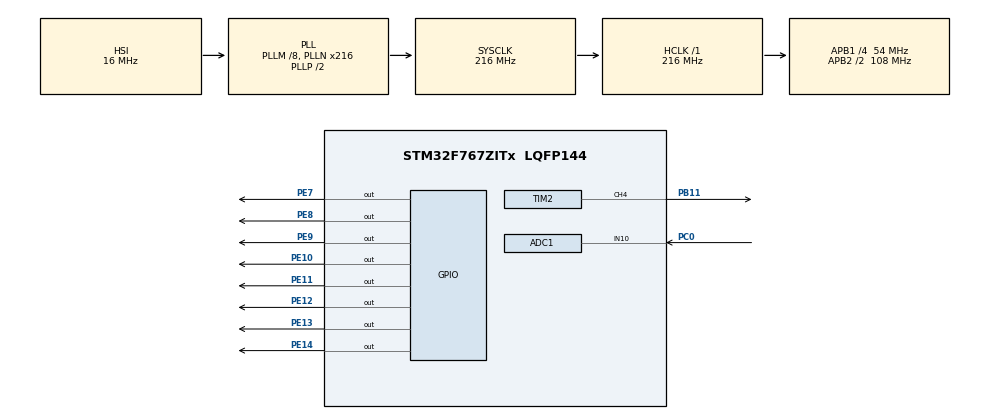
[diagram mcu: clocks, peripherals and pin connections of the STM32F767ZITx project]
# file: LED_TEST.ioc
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ADC1.Channel-0\#ChannelRegularConversion=ADC_CHANNEL_10
ADC1.ClockPrescaler=ADC_CLOCK_SYNC_PCLK_DIV4
ADC1.ContinuousConvMode=ENABLE
ADC1.EOCSelection=ADC_EOC_SEQ_CONV
ADC1.NbrOfConversionFlag=1
ADC1.Rank-0\#ChannelRegularConversion=1
ADC1.SamplingTime-0\#ChannelRegularConversion=ADC_SAMPLETIME_3CYCLES
ADC1.master=1
Mcu.Family=STM32F7
Mcu.Name=STM32F767ZITx
Mcu.Package=LQFP144
NVIC.PriorityGroup=NVIC_PRIORITYGROUP_4
PB11.GPIO_Speed=GPIO_SPEED_FREQ_VERY_HIGH
PB11.Signal=S_TIM2_CH4
PC0.Signal=ADCx_IN10
PE10.Signal=GPIO_Output
PE11.Signal=GPIO_Output
PE12.Signal=GPIO_Output
PE13.Signal=GPIO_Output
PE14.Signal=GPIO_Output
PE7.Signal=GPIO_Output
PE8.Signal=GPIO_Output
PE9.Signal=GPIO_Output
ProjectManager.HeapSize=0x200
ProjectManager.StackSize=0x400
ProjectManager.TargetToolchain=STM32CubeIDE
RCC.AHBFreq_Value=216000000
RCC.APB1CLKDivider=RCC_HCLK_DIV4
RCC.APB1Freq_Value=54000000
RCC.APB1TimFreq_Value=108000000
RCC.APB2CLKDivider=RCC_HCLK_DIV2
RCC.APB2Freq_Value=108000000
RCC.APB2TimFreq_Value=216000000
RCC.CortexFreq_Value=216000000
RCC.HCLKFreq_Value=216000000
RCC.HSE_VALUE=25000000
RCC.HSI_VALUE=16000000
RCC.LSE_VALUE=32768
RCC.PLLM=8
RCC.PLLN=216
RCC.SYSCLKFreq_VALUE=216000000
RCC.SYSCLKSource=RCC_SYSCLKSOURCE_PLLCLK
RCC.USBFreq_Value=216000000
RCC.VCOOutputFreq_Value=432000000
SH.ADCx_IN10.0=ADC1_IN10,IN10
SH.S_TIM2_CH4.0=TIM2_CH4,PWM Generation4 CH4
TIM2.Channel-PWM\ Generation4\ CH4=TIM_CHANNEL_4
TIM2.OC4Preload_PWM=DISABLE
TIM2.Period=1000-1
TIM2.Prescaler=108-1
TIM2.Pulse-PWM\ Generation4\ CH4=1000/4-1
board=custom

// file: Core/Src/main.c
/* USER CODE BEGIN Header */
/**
  ******************************************************************************
  * @file           : main.c
  * @brief          : Main program body
  ******************************************************************************
  * @attention
  *
  * Copyright (c) 2023 STMicroelectronics.
  * All rights reserved.
  *
  * This software is licensed under terms that can be found in the LICENSE file
  * in the root directory of this software component.
  * If no LICENSE file comes with this software, it is provided AS-IS.
  *
  ******************************************************************************
  */
/* USER CODE END Header */
#include "main.h"
#include "adc.h"
#include "tim.h"
#include "gpio.h"

/* USER CODE BEGIN PV */
float dutyCycle = 0.1;
uint32_t pwm = 0;
uint32_t adc_val = 0;
/* USER CODE END PV */

void SystemClock_Config(void);

int main(void)
{

  /* MCU Configuration--------------------------------------------------------*/

  /* Reset of all peripherals, Initializes the Flash interface and the Systick. */
  HAL_Init();

  /* Configure the system clock */
  SystemClock_Config();

  /* Initialize all configured peripherals */
  MX_GPIO_Init();
  MX_TIM2_Init();
  MX_ADC1_Init();
  /* USER CODE BEGIN 2 */
  HAL_TIM_Base_Start(&htim2);
  HAL_ADC_Start(&hadc1);
  /* USER CODE END 2 */

  /* Infinite loop */
  while (1)
  {

    /* USER CODE BEGIN 3 */
	  //0000 0000 0000 0000 0x00 0000 x000 0000
	  //0x00 0000 0x00 0000 0000 0000 0000 0000
	  GPIOE->BSRR = 0x00004080;
	  HAL_Delay(500);
	  GPIOE->BSRR = 0x00004080 << 16;
	  HAL_Delay(500);
	  GPIOE->BSRR = 0x00002100;
	  HAL_Delay(500);
	  GPIOE->BSRR = 0x00002100 << 16;
	  HAL_Delay(500);
	  GPIOE->BSRR = 0x00001200;
	  HAL_Delay(500);
	  GPIOE->BSRR = 0x00001200 << 16;
	  HAL_Delay(500);
	  GPIOE->BSRR = 0x00000C00;
	  HAL_Delay(500);
	  GPIOE->BSRR = 0x00000C00 << 16;
	  HAL_Delay(500);
//	  HAL_ADC_PollForConversion(&hadc1, 100);
//	  adc_val = HAL_ADC_GetValue(&hadc1);
//
//	  dutyCycle = (float)adc_val / 4095.0;
//	  htim2.Instance->CCR4 = (100-1) * dutyCycle;
//	  HAL_TIM_PWM_Start(&htim2, TIM_CHANNEL_4);
//	  pwm = HAL_GPIO_ReadPin(GPIOB, GPIO_PIN_11);
  }
  /* USER CODE END 3 */
}

void SystemClock_Config(void)
{
  RCC_OscInitTypeDef RCC_OscInitStruct = {0};
  RCC_ClkInitTypeDef RCC_ClkInitStruct = {0};

  /** Configure the main internal regulator output voltage
  */
  __HAL_RCC_PWR_CLK_ENABLE();
  __HAL_PWR_VOLTAGESCALING_CONFIG(PWR_REGULATOR_VOLTAGE_SCALE1);

  /** Initializes the RCC Oscillators according to the specified parameters
  * in the RCC_OscInitTypeDef structure.
  */
  RCC_OscInitStruct.OscillatorType = RCC_OSCILLATORTYPE_HSI;
  RCC_OscInitStruct.HSIState = RCC_HSI_ON;
  RCC_OscInitStruct.HSICalibrationValue = RCC_HSICALIBRATION_DEFAULT;
  RCC_OscInitStruct.PLL.PLLState = RCC_PLL_ON;
  RCC_OscInitStruct.PLL.PLLSource = RCC_PLLSOURCE_HSI;
  RCC_OscInitStruct.PLL.PLLM = 8;
  RCC_OscInitStruct.PLL.PLLN = 216;
  RCC_OscInitStruct.PLL.PLLP = RCC_PLLP_DIV2;
  RCC_OscInitStruct.PLL.PLLQ = 2;
  RCC_OscInitStruct.PLL.PLLR = 2;
  if (HAL_RCC_OscConfig(&RCC_OscInitStruct) != HAL_OK)
  {
    Error_Handler();
  }

  /** Activate the Over-Drive mode
  */
  if (HAL_PWREx_EnableOverDrive() != HAL_OK)
  {
    Error_Handler();
  }

  /** Initializes the CPU, AHB and APB buses clocks
  */
  RCC_ClkInitStruct.ClockType = RCC_CLOCKTYPE_HCLK|RCC_CLOCKTYPE_SYSCLK
                              |RCC_CLOCKTYPE_PCLK1|RCC_CLOCKTYPE_PCLK2;
  RCC_ClkInitStruct.SYSCLKSource = RCC_SYSCLKSOURCE_PLLCLK;
  RCC_ClkInitStruct.AHBCLKDivider = RCC_SYSCLK_DIV1;
  RCC_ClkInitStruct.APB1CLKDivider = RCC_HCLK_DIV4;
  RCC_ClkInitStruct.APB2CLKDivider = RCC_HCLK_DIV2;

  if (HAL_RCC_ClockConfig(&RCC_ClkInitStruct, FLASH_LATENCY_7) != HAL_OK)
  {
    Error_Handler();
  }
}

void Error_Handler(void)
{
  __disable_irq();
  while (1)
  {
  }
}
